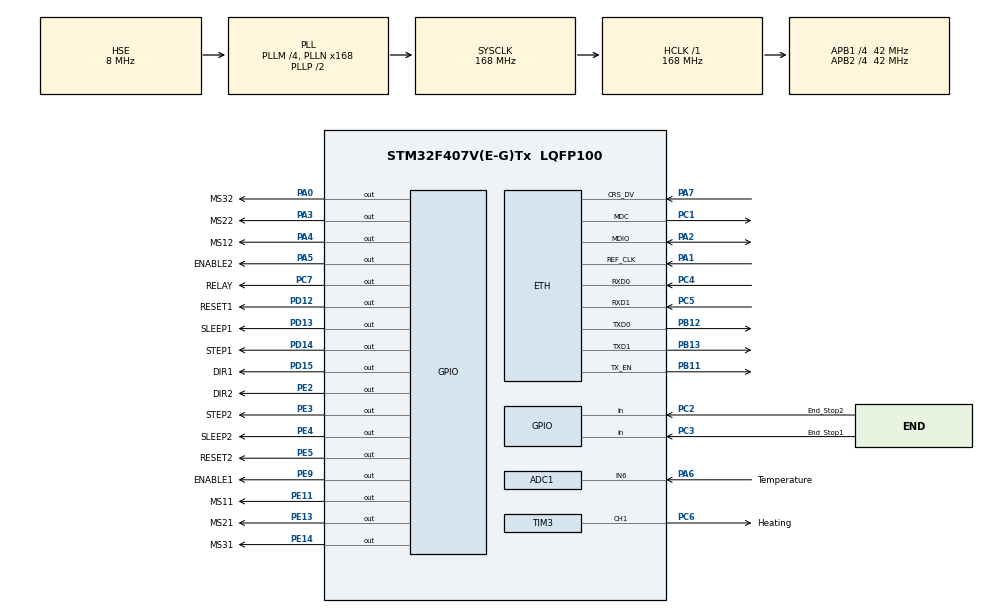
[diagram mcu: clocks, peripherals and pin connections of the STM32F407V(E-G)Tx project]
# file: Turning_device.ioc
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ADC1.Channel-0\#ChannelRegularConversion=ADC_CHANNEL_6
ADC1.ClockPrescaler=ADC_CLOCK_SYNC_PCLK_DIV4
ADC1.NbrOfConversion=1
ADC1.NbrOfConversionFlag=1
ADC1.Rank-0\#ChannelRegularConversion=1
ADC1.Resolution=ADC_RESOLUTION_12B
ADC1.SamplingTime-0\#ChannelRegularConversion=ADC_SAMPLETIME_3CYCLES
ADC1.master=1
ETH.MACAddr=00\:80\:21\:00\:00\:11
ETH.MediaInterface=ETH_MEDIA_INTERFACE_RMII
ETH.PHY_Name_RMII=DP83848_PHY_ADDRESS
FREERTOS.HEAP_NUMBER=4
FREERTOS.Tasks01=TCPserver,0,512,TCPInit,Default,NULL,Dynamic,NULL,NULL;TaskHeating,0,512,Thermoregulation,Default,NULL,Dynamic,NULL,NULL;modBus,0,512,modBusInit,Default,NULL,Dynamic,NULL,NULL
FREERTOS.configMINIMAL_STACK_SIZE=128
FREERTOS.configTOTAL_HEAP_SIZE=52720
FREERTOS.configUSE_TIMERS=0
IWDG.Prescaler=IWDG_PRESCALER_256
LWIP.GATEWAY_ADDRESS=192.168.000.001
LWIP.IP_ADDRESS=192.168.000.010
LWIP.LWIP_DHCP=0
LWIP.LWIP_SNMP=1
LWIP.MEMP_NUM_TCP_SEG=24
LWIP.MEM_SIZE=2048
LWIP.NETMASK_ADDRESS=255.255.255.000
LWIP.SLIPIF_THREAD_STACKSIZE=2048
LWIP.SNMP_STACK_SIZE=2048
LWIP.SNMP_THREAD_PRIO=6
LWIP.SNMP_USE_NETCONN=1
LWIP.SNMP_USE_RAW=0
LWIP.TCPIP_THREAD_STACKSIZE=2048
LWIP.TCP_WND=3096
LWIP.Version=v2.0.3_Cube
Mcu.Family=STM32F4
Mcu.Name=STM32F407V(E-G)Tx
Mcu.Package=LQFP100
NVIC.ETH_IRQn=true\:5\:0\:false\:false\:true\:true\:false\:true
NVIC.PriorityGroup=NVIC_PRIORITYGROUP_4
NVIC.TIM1_UP_TIM10_IRQn=true\:0\:0\:false\:false\:true\:false\:false\:true
NVIC.TIM3_IRQn=true\:5\:0\:false\:false\:true\:true\:true\:true
NVIC.TimeBase=TIM1_UP_TIM10_IRQn
NVIC.TimeBaseIP=TIM1
PA0-WKUP.GPIO_Label=MS32
PA0-WKUP.Signal=GPIO_Output
PA1.Mode=RMII
PA1.Signal=ETH_REF_CLK
PA13.Mode=Serial_Wire
PA13.Signal=SYS_JTMS-SWDIO
PA14.Mode=Serial_Wire
PA14.Signal=SYS_JTCK-SWCLK
PA2.Mode=RMII
PA2.Signal=ETH_MDIO
PA3.GPIO_Label=MS22
PA3.Signal=GPIO_Output
PA4.GPIO_Label=MS12
PA4.Signal=GPIO_Output
PA5.GPIO_Label=ENABLE2
PA5.Signal=GPIO_Output
PA6.GPIO_Label=Temperature
PA6.Signal=ADCx_IN6
PA7.Mode=RMII
PA7.Signal=ETH_CRS_DV
PB11.Mode=RMII
PB11.Signal=ETH_TX_EN
PB12.Mode=RMII
PB12.Signal=ETH_TXD0
PB13.Mode=RMII
PB13.Signal=ETH_TXD1
PC1.Mode=RMII
PC1.Signal=ETH_MDC
PC2.GPIO_Label=End_Stop2
PC2.Signal=GPIO_Input
PC3.GPIO_Label=End_Stop1
PC3.Signal=GPIO_Input
PC4.Mode=RMII
PC4.Signal=ETH_RXD0
PC5.Mode=RMII
PC5.Signal=ETH_RXD1
PC6.GPIO_Label=Heating
PC6.Signal=S_TIM3_CH1
PC7.GPIO_Label=RELAY
PC7.Signal=GPIO_Output
PD12.GPIO_Label=RESET1
PD12.PinState=GPIO_PIN_SET
PD12.Signal=GPIO_Output
PD13.GPIO_Label=SLEEP1
PD13.PinState=GPIO_PIN_SET
PD13.Signal=GPIO_Output
PD14.GPIO_Label=STEP1
PD14.Signal=GPIO_Output
PD15.GPIO_Label=DIR1
PD15.Signal=GPIO_Output
PE11.GPIO_Label=MS11
PE11.Signal=GPIO_Output
PE13.GPIO_Label=MS21
PE13.Signal=GPIO_Output
PE14.GPIO_Label=MS31
PE14.Signal=GPIO_Output
PE2.GPIO_Label=DIR2
PE2.Signal=GPIO_Output
PE3.GPIO_Label=STEP2
PE3.Signal=GPIO_Output
PE4.GPIO_Label=SLEEP2
PE4.PinState=GPIO_PIN_SET
PE4.Signal=GPIO_Output
PE5.GPIO_Label=RESET2
PE5.PinState=GPIO_PIN_SET
PE5.Signal=GPIO_Output
PE9.GPIO_Label=ENABLE1
PE9.Signal=GPIO_Output
PH0-OSC_IN.Mode=HSE-External-Oscillator
PH0-OSC_IN.Signal=RCC_OSC_IN
PH1-OSC_OUT.Mode=HSE-External-Oscillator
PH1-OSC_OUT.Signal=RCC_OSC_OUT
ProjectManager.HeapSize=0x2000
ProjectManager.StackSize=0x4000
ProjectManager.TargetToolchain=SW4STM32
RCC.48MHZClocksFreq_Value=84000000
RCC.AHBFreq_Value=168000000
RCC.APB1CLKDivider=RCC_HCLK_DIV4
RCC.APB1Freq_Value=42000000
RCC.APB1TimFreq_Value=84000000
RCC.APB2CLKDivider=RCC_HCLK_DIV4
RCC.APB2Freq_Value=42000000
RCC.APB2TimFreq_Value=84000000
RCC.CortexFreq_Value=168000000
RCC.HCLKFreq_Value=168000000
RCC.HSE_VALUE=8000000
RCC.HSI_VALUE=16000000
RCC.LSE_VALUE=32768
RCC.PLLM=4
RCC.PLLN=168
RCC.PLLSourceVirtual=RCC_PLLSOURCE_HSE
RCC.SYSCLKFreq_VALUE=168000000
RCC.SYSCLKSource=RCC_SYSCLKSOURCE_PLLCLK
RCC.VCOOutputFreq_Value=336000000
SH.ADCx_IN6.0=ADC1_IN6,IN6
SH.S_TIM3_CH1.0=TIM3_CH1,PWM Generation1 CH1
TIM3.Channel-PWM\ Generation1\ CH1=TIM_CHANNEL_1
TIM3.Period=10
VP_FREERTOS_VS_CMSIS_V1.Mode=CMSIS_V1
VP_IWDG_VS_IWDG.Mode=IWDG_Activate
VP_LWIP_VS_Enabled.Mode=Enabled
VP_SYS_VS_tim1.Mode=TIM1
VP_TIM3_VS_ClockSourceINT.Mode=Internal
board=custom

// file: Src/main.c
/* USER CODE BEGIN Header */
/**
 ******************************************************************************
 * @file           : main.c
 * @brief          : Main program body
 ******************************************************************************
 * @attention
 *
 * <h2><center>&copy; Copyright (c) 2021 STMicroelectronics.
 * All rights reserved.</center></h2>
 *
 * This software component is licensed by ST under Ultimate Liberty license
 * SLA0044, the "License"; You may not use this file except in compliance with
 * the License. You may obtain a copy of the License at:
 *                             www.st.com/SLA0044
 *
 ******************************************************************************
 */
/* USER CODE END Header */

#include "main.h"
#include "cmsis_os.h"
#include "lwip.h"

/* USER CODE BEGIN Includes */
#include "math.h"
#include "stdlib.h"
#include "stdint.h"
#include "string.h"
#include "lwip/opt.h"
#include "lwip/arch.h"
#include "lwip/api.h"
#include "flash_if.h"
#include "flash_write.h"
#include "net_param_init.h"
#include "my_mibs.h"
#include "tcp_server.h"
#include "modbus.h"
/* USER CODE END Includes */

/* USER CODE BEGIN PD */
u8_t * syscontact_str = (u8_t*) "Si Tech";
u16_t syscontact_len = sizeof("Si Tech");
u8_t * syslocation_str = (u8_t*) "SNMP turning_device";
u16_t syslocation_len = sizeof("SNMP turning_device");
u8_t * sysname_str = (u8_t*) "Turning_device";
u16_t sysname_len = sizeof("Turning_device");
u16_t bufsize = 256;
const u8_t * sysdescr = (u8_t*) "SNMP turning device made in Si Tech ";
const u16_t sysdescr_len = sizeof("SNMP turning device made in Si Tech ");

extern const struct snmp_mib mib2;
static const struct snmp_mib *my_snmp_mibs[] = { &mib2, &pashnin_mib };

//temperature for tcpserver,modbus,snmp
float T_current = 0.0;
//port for tcpserver
uint16_t tcp_port;
//t_heat1 - t heating on,t_heat2 - t heating off,t_cold2 - t cooling on,t_cold1 - t cooling off
uint16_t t_heat1, t_heat2, t_cold1, t_cold2;
//maximum value on the x-axis and y-axis
uint32_t y_max, x_max;
//relay operation mode
uint8_t relay_mode;
osMailQId TemperatureReadHandle, TemperatureSetHandle;

/* USER CODE END PD */

ADC_HandleTypeDef hadc1;

IWDG_HandleTypeDef hiwdg;

TIM_HandleTypeDef htim3;

osThreadId TCPserverHandle;
osThreadId TaskHeatingHandle;
osThreadId modBusHandle;

void SystemClock_Config(void);
static void MX_GPIO_Init(void);
static void MX_ADC1_Init(void);
static void MX_IWDG_Init(void);
static void MX_TIM3_Init(void);
void TCPInit(void const * argument);
void Thermoregulation(void const * argument);
void modBusInit(void const * argument);

int main(void) {

	/* MCU Configuration--------------------------------------------------------*/

	/* Reset of all peripherals, Initializes the Flash interface and the Systick. */
	HAL_Init();

	/* USER CODE BEGIN Init */
	osMailQDef(TemperatureRead, 1, read_T);
	TemperatureReadHandle = osMailCreate(osMailQ(TemperatureRead), NULL);
	osMailQDef(TemperatureSet, 1, set_T);
	TemperatureSetHandle = osMailCreate(osMailQ(TemperatureSet), NULL);
	/* USER CODE END Init */

	/* Configure the system clock */
	SystemClock_Config();

	/* USER CODE BEGIN SysInit */
	Net_Param_init();
	/* USER CODE END SysInit */

	/* Initialize all configured peripherals */
	MX_GPIO_Init();
	MX_ADC1_Init();
	MX_LWIP_Init();
	MX_IWDG_Init();
	MX_TIM3_Init();

	/* Create the thread(s) */
	/* definition and creation of TCPserver */
	osThreadDef(TCPserver, TCPInit, osPriorityNormal, 0, 512);
	TCPserverHandle = osThreadCreate(osThread(TCPserver), NULL);

	/* definition and creation of TaskHeating */
	osThreadDef(TaskHeating, Thermoregulation, osPriorityNormal, 0, 512);
	TaskHeatingHandle = osThreadCreate(osThread(TaskHeating), NULL);

	/* definition and creation of modBus */
	osThreadDef(modBus, modBusInit, osPriorityNormal, 0, 512);
	modBusHandle = osThreadCreate(osThread(modBus), NULL);

	/* Start scheduler */
	osKernelStart();

	/* We should never get here as control is now taken by the scheduler */

	/* Infinite loop */
	while (1) {

	}
}

void SystemClock_Config(void) {
	RCC_OscInitTypeDef RCC_OscInitStruct = { 0 };
	RCC_ClkInitTypeDef RCC_ClkInitStruct = { 0 };

	/** Configure the main internal regulator output voltage
	 */
	__HAL_RCC_PWR_CLK_ENABLE()
	;
	__HAL_PWR_VOLTAGESCALING_CONFIG(PWR_REGULATOR_VOLTAGE_SCALE1);
	/** Initializes the CPU, AHB and APB busses clocks
	 */
	RCC_OscInitStruct.OscillatorType = RCC_OSCILLATORTYPE_LSI
			| RCC_OSCILLATORTYPE_HSE;
	RCC_OscInitStruct.HSEState = RCC_HSE_ON;
	RCC_OscInitStruct.LSIState = RCC_LSI_ON;
	RCC_OscInitStruct.PLL.PLLState = RCC_PLL_ON;
	RCC_OscInitStruct.PLL.PLLSource = RCC_PLLSOURCE_HSE;
	RCC_OscInitStruct.PLL.PLLM = 4;
	RCC_OscInitStruct.PLL.PLLN = 168;
	RCC_OscInitStruct.PLL.PLLP = RCC_PLLP_DIV2;
	RCC_OscInitStruct.PLL.PLLQ = 4;
	if (HAL_RCC_OscConfig(&RCC_OscInitStruct) != HAL_OK) {
		Error_Handler();
	}
	/** Initializes the CPU, AHB and APB busses clocks
	 */
	RCC_ClkInitStruct.ClockType = RCC_CLOCKTYPE_HCLK | RCC_CLOCKTYPE_SYSCLK
			| RCC_CLOCKTYPE_PCLK1 | RCC_CLOCKTYPE_PCLK2;
	RCC_ClkInitStruct.SYSCLKSource = RCC_SYSCLKSOURCE_PLLCLK;
	RCC_ClkInitStruct.AHBCLKDivider = RCC_SYSCLK_DIV1;
	RCC_ClkInitStruct.APB1CLKDivider = RCC_HCLK_DIV4;
	RCC_ClkInitStruct.APB2CLKDivider = RCC_HCLK_DIV4;

	if (HAL_RCC_ClockConfig(&RCC_ClkInitStruct, FLASH_LATENCY_5) != HAL_OK) {
		Error_Handler();
	}
}

static void MX_ADC1_Init(void) {

	ADC_ChannelConfTypeDef sConfig = { 0 };

	/** Configure the global features of the ADC (Clock, Resolution, Data Alignment and number of conversion)
	 */
	hadc1.Instance = ADC1;
	hadc1.Init.ClockPrescaler = ADC_CLOCK_SYNC_PCLK_DIV4;
	hadc1.Init.Resolution = ADC_RESOLUTION_12B;
	hadc1.Init.ScanConvMode = DISABLE;
	hadc1.Init.ContinuousConvMode = DISABLE;
	hadc1.Init.DiscontinuousConvMode = DISABLE;
	hadc1.Init.ExternalTrigConvEdge = ADC_EXTERNALTRIGCONVEDGE_NONE;
	hadc1.Init.ExternalTrigConv = ADC_SOFTWARE_START;
	hadc1.Init.DataAlign = ADC_DATAALIGN_RIGHT;
	hadc1.Init.NbrOfConversion = 1;
	hadc1.Init.DMAContinuousRequests = DISABLE;
	hadc1.Init.EOCSelection = ADC_EOC_SINGLE_CONV;
	if (HAL_ADC_Init(&hadc1) != HAL_OK) {
		Error_Handler();
	}
	/** Configure for the selected ADC regular channel its corresponding rank in the sequencer and its sample time.
	 */
	sConfig.Channel = ADC_CHANNEL_6;
	sConfig.Rank = 1;
	sConfig.SamplingTime = ADC_SAMPLETIME_3CYCLES;
	if (HAL_ADC_ConfigChannel(&hadc1, &sConfig) != HAL_OK) {
		Error_Handler();
	}

}

static void MX_IWDG_Init(void) {

	hiwdg.Instance = IWDG;
	hiwdg.Init.Prescaler = IWDG_PRESCALER_256;
	hiwdg.Init.Reload = 4095;
	if (HAL_IWDG_Init(&hiwdg) != HAL_OK) {
		Error_Handler();
	}

}

static void MX_TIM3_Init(void) {

	TIM_ClockConfigTypeDef sClockSourceConfig = { 0 };
	TIM_MasterConfigTypeDef sMasterConfig = { 0 };
	TIM_OC_InitTypeDef sConfigOC = { 0 };

	htim3.Instance = TIM3;
	htim3.Init.Prescaler = 0;
	htim3.Init.CounterMode = TIM_COUNTERMODE_UP;
	htim3.Init.Period = 10;
	htim3.Init.ClockDivision = TIM_CLOCKDIVISION_DIV1;
	htim3.Init.AutoReloadPreload = TIM_AUTORELOAD_PRELOAD_DISABLE;
	if (HAL_TIM_Base_Init(&htim3) != HAL_OK) {
		Error_Handler();
	}
	sClockSourceConfig.ClockSource = TIM_CLOCKSOURCE_INTERNAL;
	if (HAL_TIM_ConfigClockSource(&htim3, &sClockSourceConfig) != HAL_OK) {
		Error_Handler();
	}
	if (HAL_TIM_PWM_Init(&htim3) != HAL_OK) {
		Error_Handler();
	}
	sMasterConfig.MasterOutputTrigger = TIM_TRGO_RESET;
	sMasterConfig.MasterSlaveMode = TIM_MASTERSLAVEMODE_DISABLE;
	if (HAL_TIMEx_MasterConfigSynchronization(&htim3, &sMasterConfig)
			!= HAL_OK) {
		Error_Handler();
	}
	sConfigOC.OCMode = TIM_OCMODE_PWM1;
	sConfigOC.Pulse = 0;
	sConfigOC.OCPolarity = TIM_OCPOLARITY_HIGH;
	sConfigOC.OCFastMode = TIM_OCFAST_DISABLE;
	if (HAL_TIM_PWM_ConfigChannel(&htim3, &sConfigOC, TIM_CHANNEL_1)
			!= HAL_OK) {
		Error_Handler();
	}
	HAL_TIM_MspPostInit(&htim3);

}

static void MX_GPIO_Init(void) {
	GPIO_InitTypeDef GPIO_InitStruct = { 0 };

	/* GPIO Ports Clock Enable */
	__HAL_RCC_GPIOE_CLK_ENABLE()
	;
	__HAL_RCC_GPIOH_CLK_ENABLE()
	;
	__HAL_RCC_GPIOC_CLK_ENABLE()
	;
	__HAL_RCC_GPIOA_CLK_ENABLE()
	;
	__HAL_RCC_GPIOB_CLK_ENABLE()
	;
	__HAL_RCC_GPIOD_CLK_ENABLE()
	;

	/*Configure GPIO pin Output Level */
	HAL_GPIO_WritePin(GPIOE,
	DIR2_Pin | STEP2_Pin | ENABLE1_Pin | MS11_Pin | MS21_Pin | MS31_Pin,
			GPIO_PIN_RESET);

	/*Configure GPIO pin Output Level */
	HAL_GPIO_WritePin(GPIOE, SLEEP2_Pin | RESET2_Pin, GPIO_PIN_SET);

	/*Configure GPIO pin Output Level */
	HAL_GPIO_WritePin(GPIOA, MS32_Pin | MS22_Pin | MS12_Pin | ENABLE2_Pin,
			GPIO_PIN_RESET);

	/*Configure GPIO pin Output Level */
	HAL_GPIO_WritePin(GPIOD, RESET1_Pin | SLEEP1_Pin, GPIO_PIN_SET);

	/*Configure GPIO pin Output Level */
	HAL_GPIO_WritePin(GPIOD, STEP1_Pin | DIR1_Pin, GPIO_PIN_RESET);

	/*Configure GPIO pin Output Level */
	HAL_GPIO_WritePin(RELAY_GPIO_Port, RELAY_Pin, GPIO_PIN_RESET);

	/*Configure GPIO pins : DIR2_Pin STEP2_Pin SLEEP2_Pin RESET2_Pin
	 ENABLE1_Pin MS11_Pin MS21_Pin MS31_Pin */
	GPIO_InitStruct.Pin = DIR2_Pin | STEP2_Pin | SLEEP2_Pin | RESET2_Pin
			| ENABLE1_Pin | MS11_Pin | MS21_Pin | MS31_Pin;
	GPIO_InitStruct.Mode = GPIO_MODE_OUTPUT_PP;
	GPIO_InitStruct.Pull = GPIO_NOPULL;
	GPIO_InitStruct.Speed = GPIO_SPEED_FREQ_LOW;
	HAL_GPIO_Init(GPIOE, &GPIO_InitStruct);

	/*Configure GPIO pins : End_Stop2_Pin End_Stop1_Pin */
	GPIO_InitStruct.Pin = End_Stop2_Pin | End_Stop1_Pin;
	GPIO_InitStruct.Mode = GPIO_MODE_INPUT;
	GPIO_InitStruct.Pull = GPIO_NOPULL;
	HAL_GPIO_Init(GPIOC, &GPIO_InitStruct);

	/*Configure GPIO pins : MS32_Pin MS22_Pin MS12_Pin ENABLE2_Pin */
	GPIO_InitStruct.Pin = MS32_Pin | MS22_Pin | MS12_Pin | ENABLE2_Pin;
	GPIO_InitStruct.Mode = GPIO_MODE_OUTPUT_PP;
	GPIO_InitStruct.Pull = GPIO_NOPULL;
	GPIO_InitStruct.Speed = GPIO_SPEED_FREQ_LOW;
	HAL_GPIO_Init(GPIOA, &GPIO_InitStruct);

	/*Configure GPIO pins : RESET1_Pin SLEEP1_Pin STEP1_Pin DIR1_Pin */
	GPIO_InitStruct.Pin = RESET1_Pin | SLEEP1_Pin | STEP1_Pin | DIR1_Pin;
	GPIO_InitStruct.Mode = GPIO_MODE_OUTPUT_PP;
	GPIO_InitStruct.Pull = GPIO_NOPULL;
	GPIO_InitStruct.Speed = GPIO_SPEED_FREQ_LOW;
	HAL_GPIO_Init(GPIOD, &GPIO_InitStruct);

	/*Configure GPIO pin : RELAY_Pin */
	GPIO_InitStruct.Pin = RELAY_Pin;
	GPIO_InitStruct.Mode = GPIO_MODE_OUTPUT_PP;
	GPIO_InitStruct.Pull = GPIO_NOPULL;
	GPIO_InitStruct.Speed = GPIO_SPEED_FREQ_LOW;
	HAL_GPIO_Init(RELAY_GPIO_Port, &GPIO_InitStruct);

}

/* USER CODE BEGIN 4 */
//calculate temperature
float computeTemp(float u) {
	float resistance;

	float Untc = u / 4096 * 3.3;
	resistance = Untc * 5100.0 / (3.3 - Untc);
	float result = 1 / (1.0 / 298.15 + 1.0 / 4390.0 * log(resistance / 19500))
			- 273.15;
	return result;
}
/* USER CODE END 4 */

void TCPInit(void const * argument) {
	/* USER CODE BEGIN 5 */
	struct netconn *conn;
	err_t err;
	conn = netconn_new(NETCONN_TCP);

	if (conn != NULL) {
		sock01.conn = conn;
		err = netconn_bind(conn, NULL, tcp_port);
		if (err == ERR_OK) {
			netconn_listen(conn);
			sys_thread_new("tcp_thread", tcp_thread, (void*) &sock01,
			DEFAULT_THREAD_STACKSIZE, osPriorityNormal);

		} else {
			netconn_delete(conn);
		}
	}

	//set parameters for SNMP
	snmp_mib2_set_syscontact(syscontact_str, &syscontact_len, bufsize);
	snmp_mib2_set_syslocation(syslocation_str, &syslocation_len, bufsize);
	//set to 0 when disabled, >0 when enabled
	snmp_set_auth_traps_enabled(0);
	snmp_mib2_set_sysdescr(sysdescr, &sysdescr_len);
	snmp_mib2_set_sysname(sysname_str, &sysname_len, bufsize);

	snmp_set_mibs(my_snmp_mibs, LWIP_ARRAYSIZE(my_snmp_mibs));
	snmp_init(); //Just after udp_init

	osEvent eventT;
	volatile read_T *T_r;
	//read temp for SNMP,tcpserver,modbus
	/* Infinite loop */
	for (;;) {
		eventT = osMailGet(TemperatureReadHandle, 100);
		HAL_IWDG_Refresh(&hiwdg);
		if (eventT.status == osEventMail) {
			T_r = eventT.value.p;
			T_current = T_r->T;
		}
	}
	/* USER CODE END 5 */
}

void Thermoregulation(void const * argument) {
	/* USER CODE BEGIN Thermoregulation */
	osEvent event_setT;
	float T_board = 0.0;
	volatile set_T *T_set;
	volatile read_T T_read;
	volatile read_T *T_read_p;
	T_read_p = &T_read;

	uint8_t t_h1 = t_heat1;
	uint8_t t_h2 = t_heat2;
	uint8_t t_c1 = t_cold1;
	uint8_t t_c2 = t_cold2;

	uint8_t key_h = 0;
	uint8_t key_c = 0;
	uint8_t pwm_val = 0;

	HAL_TIM_PWM_Start(&htim3, TIM_CHANNEL_1);
	/* Infinite loop */
	for (;;) {
		T_read_p = osMailAlloc(TemperatureReadHandle, osWaitForever);
		T_board = 0.0;
		event_setT = osMailGet(TemperatureSetHandle, 100);

		if (event_setT.status == osEventMail) {
			T_set = event_setT.value.p;
			t_h1 = T_set->T_heat1;
			t_h2 = T_set->T_heat2;
			t_c1 = T_set->T_cold1;
			t_c2 = T_set->T_cold2;
		}

		for (int i = 0; i < 10; i++) {
			HAL_ADC_Start(&hadc1);
			HAL_ADC_PollForConversion(&hadc1, 100);
			T_board = T_board + HAL_ADC_GetValue(&hadc1);
			HAL_ADC_Stop(&hadc1);
		}
		T_board = T_board / 10.;
		T_board = computeTemp(T_board);
		T_read.T = T_board;

		//if cooling mode is enabled
		if (relay_mode == 1) {
			if (T_board > t_c2) {
				key_c = 1;
				HAL_GPIO_WritePin(GPIOC, RELAY_Pin, GPIO_PIN_SET);
			}
			if (T_board > t_c1 && T_board < t_c2 && key_c == 1) {
				HAL_GPIO_WritePin(GPIOC, RELAY_Pin, GPIO_PIN_SET);
			}
			if (T_board > t_c1 && T_board < t_c2 && key_c == 0) {
				HAL_GPIO_WritePin(GPIOC, RELAY_Pin, GPIO_PIN_RESET);
			}
			if (T_board < t_c1) {
				key_c = 0;
				HAL_GPIO_WritePin(GPIOC, RELAY_Pin, GPIO_PIN_RESET);
			}
		}

		//heating mode
		if (T_board < t_h1) {
			key_h = 1;
			if (pwm_val != htim3.Init.Period) {
				pwm_val++;
			}
		}
		if (T_board > t_h1 && T_board < t_h2 && key_h == 1) {
			if (pwm_val != htim3.Init.Period) {
				pwm_val++;
			}
		}
		if (T_board > t_h1 && T_board < t_h2 && key_h == 0) {
			if (pwm_val != 0) {
				pwm_val--;
			}
		}
		if (T_board > t_h2) {
			key_h = 0;
			if (pwm_val != 0) {
				pwm_val--;
			}
		}
		TIM3->CCR1 = pwm_val;
		osMailPut(TemperatureReadHandle, &T_read);

	}
	/* USER CODE END Thermoregulation */
}

void modBusInit(void const * argument) {
	/* USER CODE BEGIN modBusInit */
	struct netconn *conn;
	err_t err;

	conn = netconn_new(NETCONN_TCP);
	if (conn != NULL) {
		sock02.conn = conn;
		err = netconn_bind(conn, NULL, 502);
		if (err == ERR_OK) {
			netconn_listen(conn);
			sys_thread_new("modbus_thread", modbus_thread, (void*) &sock02,
			DEFAULT_THREAD_STACKSIZE, osPriorityNormal);

		} else {
			netconn_delete(conn);
		}
	}
	/* Infinite loop */
	for (;;) {
		osDelay(1);
	}
	/* USER CODE END modBusInit */
}

void HAL_TIM_PeriodElapsedCallback(TIM_HandleTypeDef *htim) {
	if (htim->Instance == TIM1) {
		HAL_IncTick();
	}
}

void Error_Handler(void) {
	/* USER CODE BEGIN Error_Handler_Debug */
	/* User can add his own implementation to report the HAL error return state */
	NVIC_SystemReset();
	/* USER CODE END Error_Handler_Debug */
}

#ifdef  USE_FULL_ASSERT
/**
 * @brief  Reports the name of the source file and the source line number
 *         where the assert_param error has occurred.
 * @param  file: pointer to the source file name
 * @param  line: assert_param error line source number
 * @retval None
 */
void assert_failed(uint8_t *file, uint32_t line)
{
	/* USER CODE BEGIN 6 */
	NVIC_SystemReset();
	/* User can add his own implementation to report the file name and line number,
	 tex: printf("Wrong parameters value: file %s on line %d\r\n", file, line) */
	/* USER CODE END 6 */
}
#endif /* USE_FULL_ASSERT */

/************************ (C) COPYRIGHT STMicroelectronics *****END OF FILE****/
